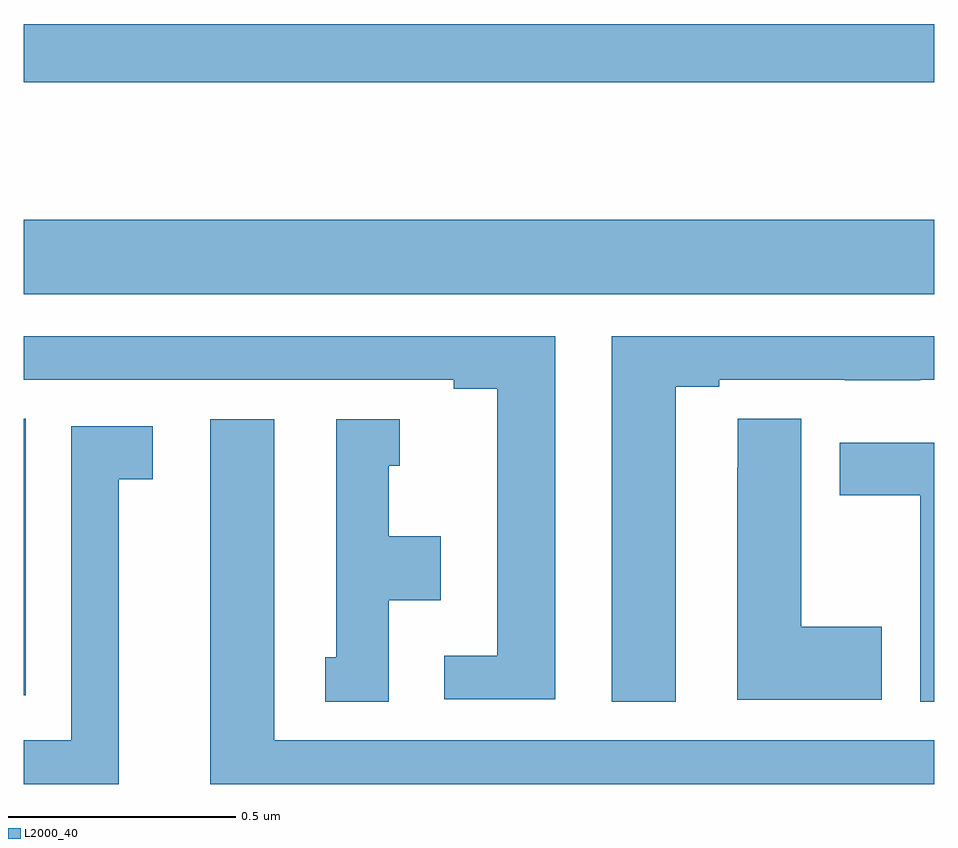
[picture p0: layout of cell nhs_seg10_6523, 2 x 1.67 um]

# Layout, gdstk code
import gdstk
lib = gdstk.Library(unit=1e-6, precision=1e-09)
def R(c, l, rs):  # rectangles x0, y0, x1, y1
    for r in rs: c.add(gdstk.rectangle(r[:2], r[2:], *l))
def P(c, l, *ps):  # polygons
    for p in ps: c.add(gdstk.Polygon(p, *l))
L2000_40 = (2000, 40)

nhs_seg10_6523 = lib.new_cell('nhs_seg10_6523')
R(nhs_seg10_6523, L2000_40, [(192,1308.759,192.004,1309.367), (192,1309.64,194,1309.804), (192,1310.106,194,1310.234)])
P(nhs_seg10_6523, L2000_40, [(193.168,1309.548),(192,1309.548),(192,1309.452),(192.944,1309.452),(192.944,1309.432),(193.04,1309.432),(193.04,1308.846),(192.924,1308.846),(192.924,1308.75),(193.168,1308.75)],
  [(193.432,1309.437),(193.528,1309.437),(193.528,1309.452),(193.804,1309.452),(193.804,1309.451),(193.97,1309.451),(193.97,1309.452),(194,1309.452),(194,1309.548),(193.292,1309.548),(193.292,1308.745),(193.432,1308.745)],
  [(193.885,1308.909),(193.708,1308.909),(193.708,1309.367),(193.569,1309.367),(193.569,1309.259),(193.568,1309.259),(193.568,1308.749),(193.885,1308.749)],
  [(192.802,1308.968),(192.916,1308.968),(192.916,1309.108),(192.802,1309.108),(192.802,1309.263),(192.826,1309.263),(192.826,1309.366),(192.686,1309.366),(192.686,1308.843),(192.662,1308.843),(192.662,1308.745),(192.802,1308.745)],
  [(194,1308.66),(192.55,1308.66),(192.55,1309.366),(192.41,1309.366),(192.41,1308.564),(194,1308.564)],
  [(192.208,1309.234),(192.283,1309.234),(192.283,1309.35),(192.104,1309.35),(192.104,1308.66),(192,1308.66),(192,1308.564),(192.208,1308.564)],
  [(194,1309.314),(193.793,1309.314),(193.793,1309.198),(193.97,1309.198),(193.97,1308.745),(194,1308.745)])

lib.write_gds('nhs_seg10_6523.gds')
